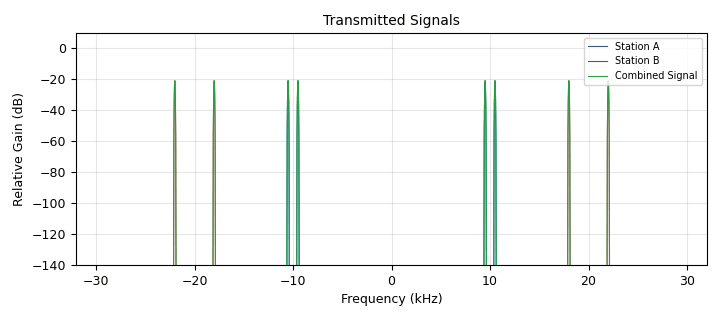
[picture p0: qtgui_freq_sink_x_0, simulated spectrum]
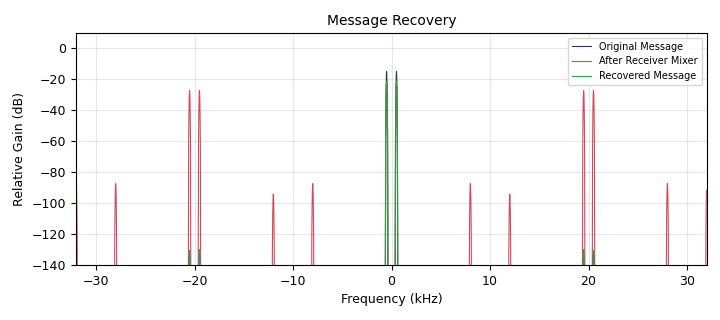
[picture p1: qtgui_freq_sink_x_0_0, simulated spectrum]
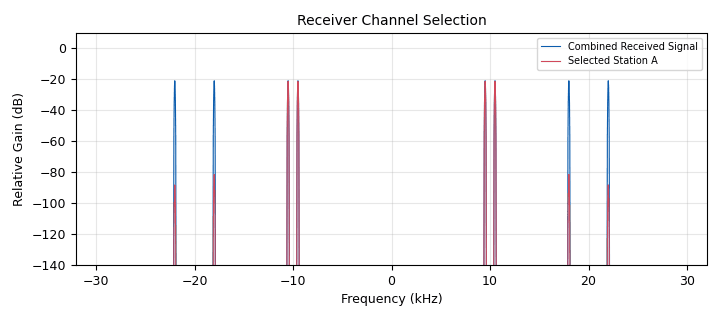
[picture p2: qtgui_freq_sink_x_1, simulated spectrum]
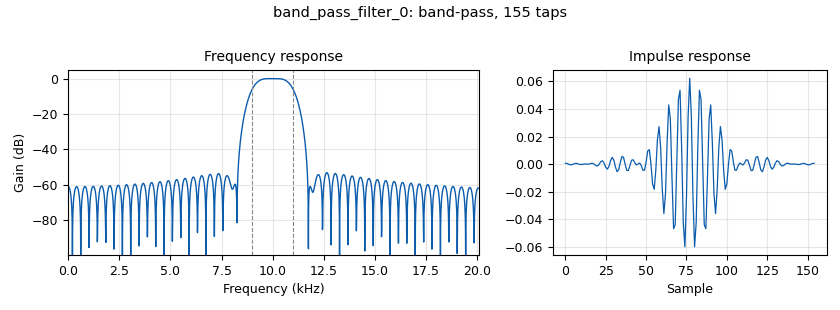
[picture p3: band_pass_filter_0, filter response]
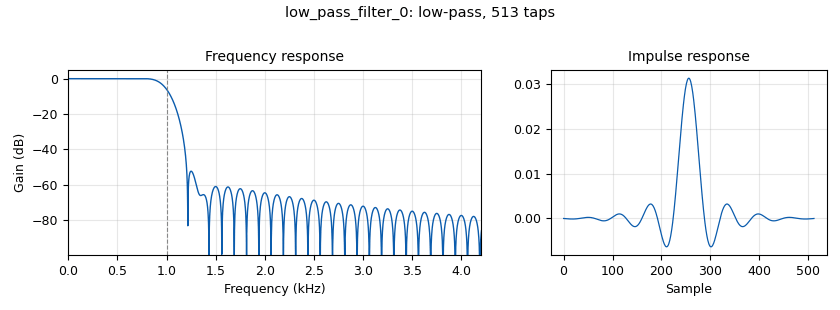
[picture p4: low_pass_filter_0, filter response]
options:
  parameters:
    author: Dhrubjun
    generate_options: qt_gui
    id: exp5
    output_language: python
    title: Recovering the Original Message
  states: {}

blocks:
- name: samp_rate
  id: variable
  parameters:
    value: '64000'
  states: {}
- name: analog_sig_source_x_0
  id: analog_sig_source_x
  parameters:
    amp: '1'
    freq: '2000'
    offset: '0'
    phase: '0'
    samp_rate: samp_rate
    type: float
    waveform: analog.GR_COS_WAVE
  states: {}
- name: analog_sig_source_x_0_0
  id: analog_sig_source_x
  parameters:
    amp: '1'
    freq: '20000'
    offset: '0'
    phase: '0'
    samp_rate: samp_rate
    type: float
    waveform: analog.GR_COS_WAVE
  states: {}
- name: analog_sig_source_x_0_1
  id: analog_sig_source_x
  parameters:
    amp: '1'
    freq: '10000'
    offset: '0'
    phase: '0'
    samp_rate: samp_rate
    type: float
    waveform: analog.GR_COS_WAVE
  states: {}
- name: analog_sig_source_x_0_1_0
  id: analog_sig_source_x
  parameters:
    amp: '1'
    freq: '500'
    offset: '0'
    phase: '0'
    samp_rate: samp_rate
    type: float
    waveform: analog.GR_COS_WAVE
  states: {}
- name: analog_sig_source_x_0_1_1
  id: analog_sig_source_x
  parameters:
    amp: '1'
    freq: '10000'
    offset: '0'
    phase: '0'
    samp_rate: samp_rate
    type: float
    waveform: analog.GR_COS_WAVE
  states: {}
- name: band_pass_filter_0
  id: band_pass_filter
  parameters:
    decim: '1'
    gain: '1'
    high_cutoff_freq: '11000'
    low_cutoff_freq: '9000'
    samp_rate: samp_rate
    type: fir_filter_fff
    width: '1000'
    win: window.WIN_HAMMING
  states: {}
- name: blocks_add_xx_0
  id: blocks_add_xx
  parameters:
    type: float
  states: {}
- name: blocks_multiply_xx_0
  id: blocks_multiply_xx
  parameters:
    type: float
  states: {}
- name: blocks_multiply_xx_0_0
  id: blocks_multiply_xx
  parameters:
    type: float
  states: {}
- name: blocks_multiply_xx_0_0_0
  id: blocks_multiply_xx
  parameters:
    type: float
  states: {}
- name: blocks_throttle2_0
  id: blocks_throttle2
  parameters:
    samples_per_second: samp_rate
    type: float
  states: {}
- name: low_pass_filter_0
  id: low_pass_filter
  parameters:
    cutoff_freq: '1000'
    decim: '1'
    gain: '1'
    samp_rate: samp_rate
    type: fir_filter_fff
    width: '300'
    win: window.WIN_HAMMING
  states: {}
- name: qtgui_freq_sink_x_0
  id: qtgui_freq_sink_x
  parameters:
    bw: samp_rate
    fc: '0'
    fftsize: '2048'
    gui_hint: (0,0,1,1)
    label1: Station A
    label2: Station B
    label3: Combined Signal
    name: ' Transmitted Signals'
    nconnections: '3'
    type: float
  states: {}
- name: qtgui_freq_sink_x_0_0
  id: qtgui_freq_sink_x
  parameters:
    bw: samp_rate
    fc: '0'
    fftsize: '2048'
    gui_hint: (1,0,1,2)
    label1: Original Message
    label2: After Receiver Mixer
    label3: Recovered Message
    name: Message Recovery
    nconnections: '3'
    type: float
  states: {}
- name: qtgui_freq_sink_x_1
  id: qtgui_freq_sink_x
  parameters:
    bw: samp_rate
    fc: '0'
    fftsize: '2048'
    gui_hint: (0,1,1,1)
    label1: Combined Received Signal
    label2: Selected Station A
    name: Receiver Channel Selection
    nconnections: '2'
    type: float
  states: {}

connections:
- [analog_sig_source_x_0, '0', blocks_multiply_xx_0, '0']
- [analog_sig_source_x_0_0, '0', blocks_multiply_xx_0, '1']
- [analog_sig_source_x_0_1, '0', blocks_multiply_xx_0_0, '1']
- [analog_sig_source_x_0_1_0, '0', blocks_multiply_xx_0_0, '0']
- [analog_sig_source_x_0_1_0, '0', qtgui_freq_sink_x_0_0, '0']
- [analog_sig_source_x_0_1_1, '0', blocks_multiply_xx_0_0_0, '1']
- [band_pass_filter_0, '0', blocks_multiply_xx_0_0_0, '0']
- [band_pass_filter_0, '0', qtgui_freq_sink_x_1, '1']
- [blocks_add_xx_0, '0', blocks_throttle2_0, '0']
- [blocks_multiply_xx_0, '0', blocks_add_xx_0, '1']
- [blocks_multiply_xx_0, '0', qtgui_freq_sink_x_0, '1']
- [blocks_multiply_xx_0_0, '0', blocks_add_xx_0, '0']
- [blocks_multiply_xx_0_0, '0', qtgui_freq_sink_x_0, '0']
- [blocks_multiply_xx_0_0_0, '0', low_pass_filter_0, '0']
- [blocks_multiply_xx_0_0_0, '0', qtgui_freq_sink_x_0_0, '1']
- [blocks_throttle2_0, '0', band_pass_filter_0, '0']
- [blocks_throttle2_0, '0', qtgui_freq_sink_x_0, '2']
- [blocks_throttle2_0, '0', qtgui_freq_sink_x_1, '0']
- [low_pass_filter_0, '0', qtgui_freq_sink_x_0_0, '2']

metadata:
  file_format: 1
  grc_version: 3.10.12.0
